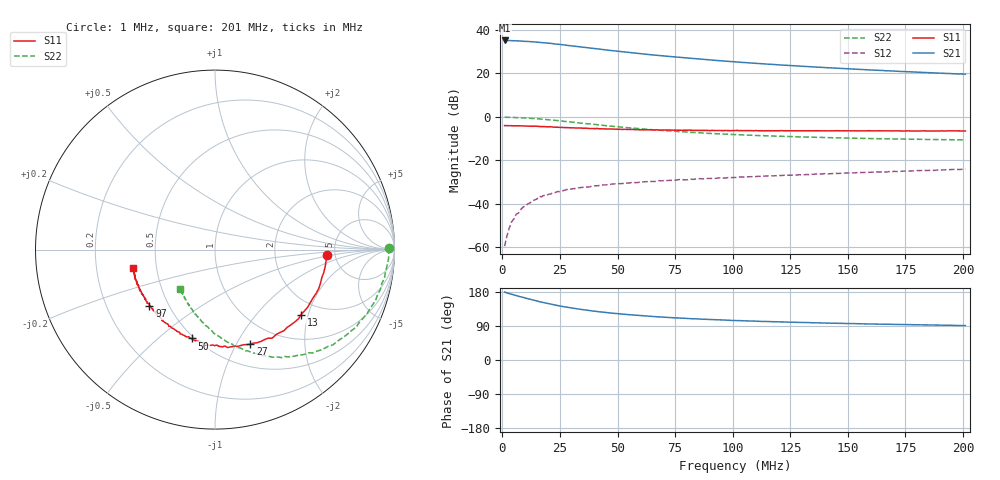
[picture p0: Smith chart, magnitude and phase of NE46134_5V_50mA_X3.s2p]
# MHz S RI R 50
! S-Parameters data
! Freq  reS11  imS11  reS21  imS21  reS12  imS12  reS22  imS22
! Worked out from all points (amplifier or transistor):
!   201 points, 1 MHz to 201 MHz, reference 50 ohm
!   highest |S21| = 35.0 dB at 1 MHz (marker M1)
!   |S21| within 3 dB of that: start of sweep to 34.24 MHz
!   unconditionally stable (mu >= 1): nowhere
!   at 34 MHz: K = 0.30, MSG = 32.3 dB, |S12| = -32.6 dB
!   at 101 MHz: K = 0.68, MSG = 26.6 dB, |S12| = -27.9 dB
!   at 201 MHz: K = 0.90, MSG = 21.8 dB, |S12| = -24.1 dB
!   S11 on the Smith chart (normalised r, x): 1 MHz: 4.25, -0.44; 13 MHz: 1.59, -1.80; 27 MHz: 0.74, -1.14; 50 MHz: 0.48, -0.65; 97 MHz: 0.39, -0.32; 201 MHz: 0.37, -0.09
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1  0.6219 -0.0316  -56.25 0.6445  0.0003 0.00101  0.9678 0.00745
2  0.6189 -0.063  -56.12 2.898  0.000369 0.00176  0.9672 -0.0488
7  0.5779 -0.217  -53.82 11.35  0.00123 0.00594  0.9214 -0.2226
11  0.5174 -0.3191  -50.74 16.66  0.00219 0.00961  0.8587 -0.3368
13  0.4794 -0.3617  -48.68 18.77  0.00302 0.0112  0.826 -0.3813
15  0.4438 -0.4029  -47.09 20.96  0.00358 0.0123  0.7877 -0.4311
16  0.4237 -0.4194  -45.78 22.14  0.00489 0.0139  0.7645 -0.4483
19  0.3614 -0.4617  -42.6 24.61  0.00529 0.0142  0.6993 -0.4984
25  0.2308 -0.5198  -36.24 27.81  0.00768 0.0173  0.5676 -0.5659
27  0.1962 -0.528  -34.05 28.26  0.00884 0.0185  0.5215 -0.5748
33  0.0866 -0.542  -28.54 28.96  0.0114 0.0201  0.4061 -0.5979
35  0.0563 -0.537  -26.7 28.74  0.0116 0.0209  0.3704 -0.6019
42  -0.046 -0.5259  -21.51 28.37  0.0143 0.0219  0.2612 -0.5897
50  -0.1305 -0.4951  -17.03 26.91  0.016 0.0237  0.1686 -0.5633
57  -0.1947 -0.4694  -13.82 25.5  0.0177 0.0249  0.1039 -0.5353
68  -0.2602 -0.4191  -10.21 23.27  0.0196 0.0277  0.028 -0.4874
82  -0.3233 -0.3629  -7.047 20.61  0.0206 0.0302  -0.0383 -0.4328
97  -0.3651 -0.3136  -4.945 18.17  0.0217 0.0322  -0.0871 -0.3871
101  -0.373 -0.2996  -4.482 17.62  0.0228 0.033  -0.0943 -0.3762
135  -0.4254 -0.2108  -1.992 13.72  0.0252 0.0401  -0.1524 -0.3012
168  -0.4472 -0.1479  -0.832 11.26  0.0272 0.0474  -0.1776 -0.2524
201  -0.4582 -0.1004  -0.1382 9.463  0.0293 0.0548  -0.1931 -0.2198
